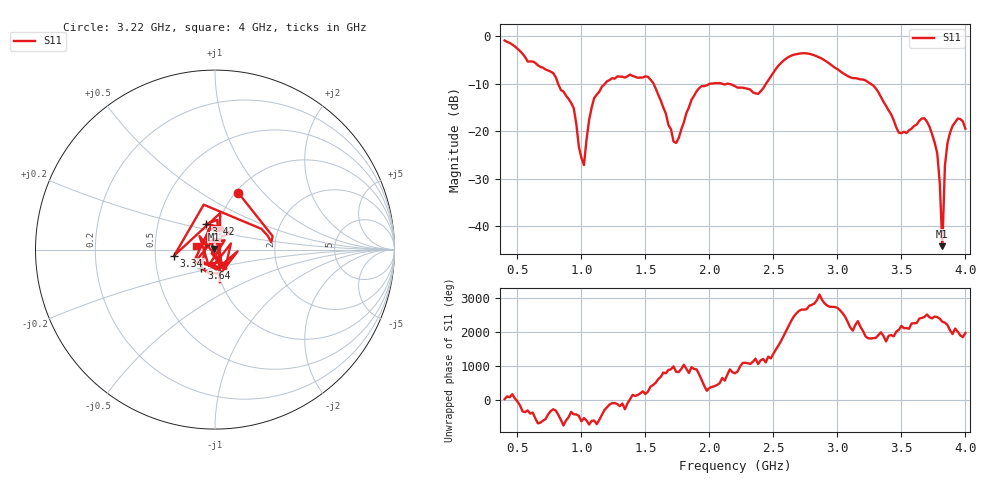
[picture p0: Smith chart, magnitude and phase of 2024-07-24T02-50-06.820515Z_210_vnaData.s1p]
!Created with skrf (http://scikit-rf.org).
# Hz S RI R 50.0
!freq ReS11 ImS11
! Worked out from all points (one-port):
!   181 points, 400 MHz to 4 GHz, reference 50 ohm
!   lowest |S11| = -44.3 dB at 3.82 GHz (marker M1), VSWR 1.01, Z = 49.5 + j0.383 ohm
!   |S11| at or under -10 dB: 818.2 MHz to 1.184 GHz (365.3 MHz wide, 36.5 % of centre); 1.563 GHz to 2.002 GHz (438.2 MHz wide, 24.6 % of centre); 3.26 GHz to end of sweep (the widest 3 of 5)
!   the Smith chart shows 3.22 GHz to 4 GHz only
!   S11 on the Smith chart (normalised r, x): 3.22 GHz: 1.02, +0.74; 3.34 GHz: 0.63, -0.04; 3.42 GHz: 0.87, +0.25; 3.64 GHz: 0.84, -0.18; 4 GHz: 0.81, +0.03
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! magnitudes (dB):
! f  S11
! 400 MHz  -0.9
! 860 MHz  -11.6
! 940 MHz  -15.1
! 1.02 GHz  -27.2
! 1.1 GHz  -13.0
! 1.3 GHz  -8.5
! 1.52 GHz  -8.5
! 1.72 GHz  -22.2
! 1.76 GHz  -21.5
! 1.92 GHz  -10.9
! 2.2 GHz  -10.5
! 2.38 GHz  -12.1
! 2.66 GHz  -3.9
! 3.1 GHz  -8.6
! 3.22 GHz  -9.3
! 3.34 GHz  -12.8
! 3.42 GHz  -16.4
! 3.48 GHz  -20.3
! 3.56 GHz  -19.8
! 3.64 GHz  -17.8
! 3.7 GHz  -18.0
! 3.78 GHz  -24.6
! 3.8 GHz  -31.0
! 3.82 GHz  -44.3
! 3.84 GHz  -27.3
! 3.86 GHz  -22.5
! 3.94 GHz  -17.3
! 4 GHz  -19.5
